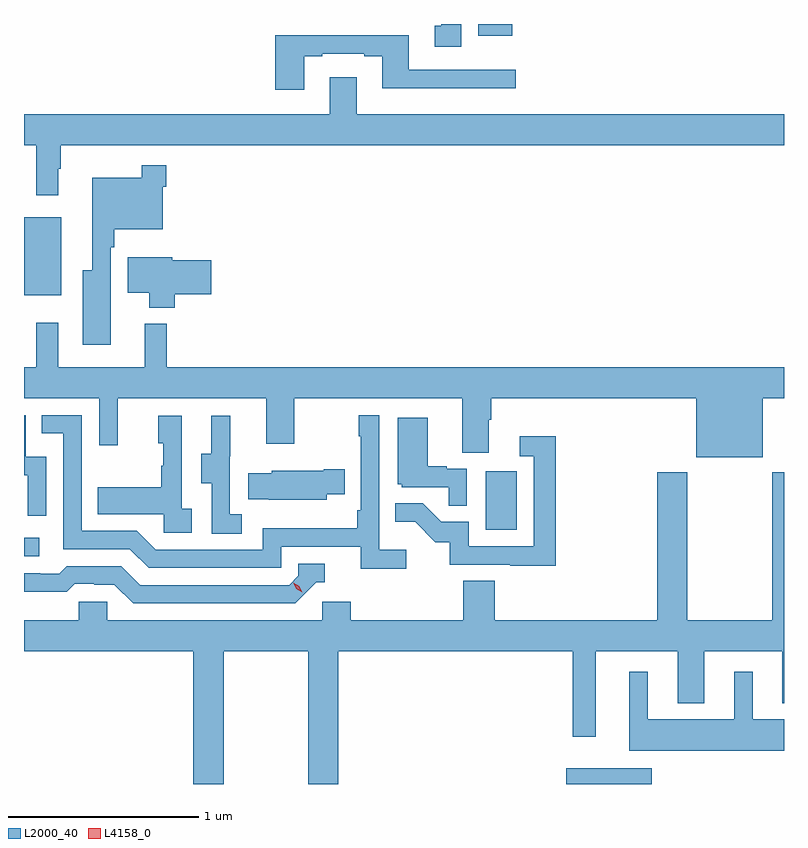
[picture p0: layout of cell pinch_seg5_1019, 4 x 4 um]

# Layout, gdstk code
import gdstk
lib = gdstk.Library(unit=1e-6, precision=1e-09)
def R(c, l, rs):  # rectangles x0, y0, x1, y1
    for r in rs: c.add(gdstk.rectangle(r[:2], r[2:], *l))
def P(c, l, *ps):  # polygons
    for p in ps: c.add(gdstk.Polygon(p, *l))
L2000_40 = (2000, 40)
L4158_0 = (4158, 0)

pinch_seg5_1019 = lib.new_cell('pinch_seg5_1019')
R(pinch_seg5_1019, L2000_40, [(858.206,868.05,858.655,868.132), (855.351,869.25,855.43,869.346), (857.78,869.388,857.944,869.695), (855.351,870.623,855.547,871.033), (857.741,871.988,857.92,872.05)])
P(pinch_seg5_1019, L2000_40, [(857.653,872.05),(857.546,872.05),(857.546,872.041),(857.513,872.041),(857.513,871.929),(857.653,871.929)],
  [(856.825,871.881),(856.921,871.881),(856.921,871.893),(857.141,871.893),(857.141,871.881),(857.237,871.881),(857.237,871.712),(857.938,871.712),(857.938,871.809),(857.377,871.809),(857.377,871.99),(856.673,871.99),(856.673,871.704),(856.825,871.704)],
  [(855.532,871.289),(855.544,871.289),(855.544,871.412),(859.351,871.412),(859.351,871.576),(857.101,871.576),(857.101,871.771),(856.961,871.771),(856.961,871.576),(855.351,871.576),(855.351,871.412),(855.415,871.412),(855.415,871.149),(855.532,871.149)],
  [(855.808,870.875),(855.827,870.875),(855.827,870.971),(856.08,870.971),(856.08,871.193),(856.1,871.193),(856.1,871.306),(855.972,871.306),(855.972,871.24),(855.71,871.24),(855.71,870.754),(855.659,870.754),(855.659,870.362),(855.808,870.362)],
  [(856.145,870.628),(856.336,870.628),(856.336,870.806),(856.132,870.806),(856.132,870.823),(855.896,870.823),(855.896,870.635),(856.01,870.635),(856.01,870.557),(856.145,870.557)],
  [(859.24,870.08),(859.351,870.08),(859.351,870.244),(856.103,870.244),(856.103,870.472),(855.986,870.472),(855.986,870.244),(855.531,870.244),(855.531,870.478),(855.415,870.478),(855.415,870.244),(855.351,870.244),(855.351,870.08),(855.747,870.08),(855.747,869.832),(855.845,869.832),(855.845,870.08),(856.625,870.08),(856.625,869.841),(856.773,869.841),(856.773,870.08),(857.657,870.08),(857.657,869.794),(857.797,869.794),(857.797,869.968),(857.81,869.968),(857.81,870.08),(858.89,870.08),(858.89,869.771),(859.24,869.771)],
  [(857.362,869.284),(857.22,869.284),(857.22,869.992),(857.112,869.992),(857.112,869.879),(857.124,869.879),(857.124,869.491),(857.104,869.491),(857.104,869.395),(856.608,869.395),(856.608,869.283),(856.044,869.283),(855.945,869.382),(855.654,869.382),(855.654,869.991),(855.445,869.991),(855.445,869.895),(855.558,869.895),(855.558,869.286),(855.908,869.286),(856.007,869.187),(856.704,869.187),(856.704,869.298),(857.123,869.298),(857.123,869.182),(857.362,869.182)],
  [(855.468,869.772),(855.36,869.772),(855.36,869.991),(855.351,869.991),(855.351,869.675),(855.372,869.675),(855.372,869.463),(855.468,869.463)],
  [(856.498,869.471),(856.434,869.471),(856.434,869.775),(856.436,869.775),(856.436,869.989),(856.337,869.989),(856.337,869.787),(856.283,869.787),(856.283,869.632),(856.338,869.632),(856.338,869.368),(856.498,869.368)],
  [(856.234,869.498),(856.182,869.498),(856.182,869.989),(856.058,869.989),(856.058,869.844),(856.084,869.844),(856.084,869.726),(856.074,869.726),(856.074,869.611),(855.739,869.611),(855.739,869.471),(856.086,869.471),(856.086,869.373),(856.234,869.373)],
  [(857.682,869.709),(857.576,869.709),(857.576,869.722),(857.476,869.722),(857.476,869.977),(857.318,869.977),(857.318,869.628),(857.34,869.628),(857.34,869.613),(857.587,869.613),(857.587,869.515),(857.682,869.515)],
  [(858.149,869.881),(857.961,869.881),(857.961,869.775),(858.033,869.775),(858.033,869.301),(857.691,869.301),(857.691,869.43),(857.547,869.43),(857.449,869.528),(857.305,869.528),(857.305,869.429),(857.409,869.429),(857.516,869.322),(857.593,869.322),(857.593,869.205),(857.911,869.205),(857.911,869.2),(858.149,869.2)],
  [(856.945,869.576),(857.039,869.576),(857.039,869.706),(856.928,869.706),(856.928,869.698),(856.656,869.698),(856.656,869.686),(856.531,869.686),(856.531,869.549),(856.639,869.549),(856.639,869.546),(856.945,869.546)],
  [(856.401,868.748),(856.846,868.748),(856.846,868.05),(857.006,868.05),(857.006,868.748),(858.24,868.748),(858.24,868.299),(858.361,868.299),(858.361,868.748),(858.791,868.748),(858.791,868.475),(858.931,868.475),(858.931,868.748),(859.343,868.748),(859.343,868.475),(859.351,868.475),(859.351,869.692),(859.288,869.692),(859.288,868.912),(858.843,868.912),(858.843,869.692),(858.683,869.692),(858.683,868.912),(857.828,868.912),(857.828,869.12),(857.663,869.12),(857.663,868.912),(857.072,868.912),(857.072,869.01),(856.92,869.01),(856.92,868.912),(855.789,868.912),(855.789,869.01),(855.639,869.01),(855.639,868.912),(855.351,868.912),(855.351,868.748),(856.241,868.748),(856.241,868.05),(856.401,868.05)],
  [(856.89,869.112),(856.933,869.112),(856.933,869.208),(856.794,869.208),(856.794,869.145),(856.746,869.097),(855.963,869.097),(855.864,869.196),(855.575,869.196),(855.536,869.157),(855.437,869.157),(855.437,869.16),(855.351,869.16),(855.351,869.061),(855.575,869.061),(855.617,869.103),(855.72,869.103),(855.72,869.1),(855.827,869.1),(855.926,869.001),(856.779,869.001)],
  [(859.351,868.39),(859.186,868.39),(859.186,868.642),(859.088,868.642),(859.088,868.39),(858.634,868.39),(858.634,868.642),(858.536,868.642),(858.536,868.226),(859.351,868.226)])
P(pinch_seg5_1019, L4158_0, [(856.816,869.058),(856.785,869.077),(856.769,869.109),(856.769,869.11),(856.769,869.11),(856.8,869.09),(856.816,869.058),(856.816,869.058)])

lib.write_gds('pinch_seg5_1019.gds')
